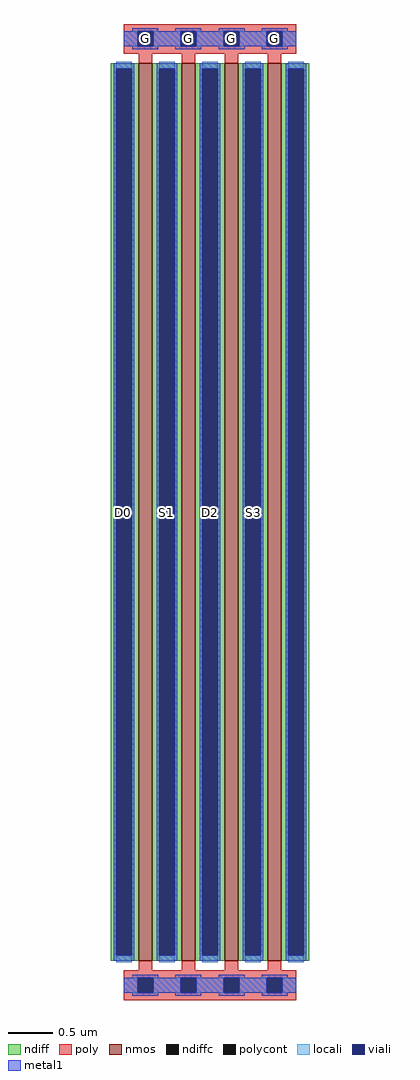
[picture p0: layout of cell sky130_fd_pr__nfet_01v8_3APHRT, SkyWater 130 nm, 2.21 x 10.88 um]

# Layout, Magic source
magic
tech sky130A
magscale 1 2
<< nmos >>
rect -159 -1000 -129 1000
rect -63 -1000 -33 1000
rect 33 -1000 63 1000
rect 129 -1000 159 1000
<< ndiff >>
rect -221 988 -159 1000
rect -221 -988 -209 988
rect -175 -988 -159 988
rect -221 -1000 -159 -988
rect -129 988 -63 1000
rect -129 -988 -113 988
rect -79 -988 -63 988
rect -129 -1000 -63 -988
rect -33 988 33 1000
rect -33 -988 -17 988
rect 17 -988 33 988
rect -33 -1000 33 -988
rect 63 988 129 1000
rect 63 -988 79 988
rect 113 -988 129 988
rect 63 -1000 129 -988
rect 159 988 221 1000
rect 159 -988 175 988
rect 209 -988 221 988
rect 159 -1000 221 -988
<< ndiffc >>
rect -209 -988 -175 988
rect -113 -988 -79 988
rect -17 -988 17 988
rect 79 -988 113 988
rect 175 -988 209 988
<< poly >>
rect -192 1072 192 1088
rect -192 1038 -161 1072
rect -127 1038 -65 1072
rect -31 1038 31 1072
rect 65 1038 127 1072
rect 161 1038 192 1072
rect -192 1022 192 1038
rect -159 1000 -129 1022
rect -63 1000 -33 1022
rect 33 1000 63 1022
rect 129 1000 159 1022
rect -159 -1022 -129 -1000
rect -63 -1022 -33 -1000
rect 33 -1022 63 -1000
rect 129 -1022 159 -1000
rect -192 -1038 192 -1022
rect -192 -1072 -161 -1038
rect -127 -1072 -65 -1038
rect -31 -1072 31 -1038
rect 65 -1072 127 -1038
rect 161 -1072 192 -1038
rect -192 -1088 192 -1072
<< polycont >>
rect -161 1038 -127 1072
rect -65 1038 -31 1072
rect 31 1038 65 1072
rect 127 1038 161 1072
rect -161 -1072 -127 -1038
rect -65 -1072 -31 -1038
rect 31 -1072 65 -1038
rect 127 -1072 161 -1038
<< locali >>
rect -192 1038 -161 1072
rect -127 1038 -65 1072
rect -31 1038 31 1072
rect 65 1038 127 1072
rect 161 1038 192 1072
rect -209 988 -175 1004
rect -209 -1004 -175 -988
rect -113 988 -79 1004
rect -113 -1004 -79 -988
rect -17 988 17 1004
rect -17 -1004 17 -988
rect 79 988 113 1004
rect 79 -1004 113 -988
rect 175 988 209 1004
rect 175 -1004 209 -988
rect -192 -1072 -161 -1038
rect -127 -1072 -65 -1038
rect -31 -1072 31 -1038
rect 65 -1072 127 -1038
rect 161 -1072 192 -1038
<< viali >>
rect -161 1038 -127 1072
rect -65 1038 -31 1072
rect 31 1038 65 1072
rect 127 1038 161 1072
rect -209 -988 -175 988
rect -113 -988 -79 988
rect -17 -988 17 988
rect 79 -988 113 988
rect 175 -988 209 988
rect -161 -1072 -127 -1038
rect -65 -1072 -31 -1038
rect 31 -1072 65 -1038
rect 127 -1072 161 -1038
<< metal1 >>
rect -173 1072 -115 1078
rect -77 1072 -19 1078
rect 19 1072 77 1078
rect 115 1072 173 1078
rect -192 1038 -161 1072
rect -127 1038 -65 1072
rect -31 1038 31 1072
rect 65 1038 127 1072
rect 161 1038 192 1072
rect -173 1032 -115 1038
rect -77 1032 -19 1038
rect 19 1032 77 1038
rect 115 1032 173 1038
rect -215 988 -169 1000
rect -215 -988 -209 988
rect -175 -988 -169 988
rect -215 -1000 -169 -988
rect -119 988 -73 1000
rect -119 -988 -113 988
rect -79 -988 -73 988
rect -119 -1000 -73 -988
rect -23 988 23 1000
rect -23 -988 -17 988
rect 17 -988 23 988
rect -23 -1000 23 -988
rect 73 988 119 1000
rect 73 -988 79 988
rect 113 -988 119 988
rect 73 -1000 119 -988
rect 169 988 215 1000
rect 169 -988 175 988
rect 209 -988 215 988
rect 169 -1000 215 -988
rect -173 -1038 -115 -1032
rect -77 -1038 -19 -1032
rect 19 -1038 77 -1032
rect 115 -1038 173 -1032
rect -192 -1072 -161 -1038
rect -127 -1072 -65 -1038
rect -31 -1072 31 -1038
rect 65 -1072 127 -1038
rect 161 -1072 192 -1038
rect -173 -1078 -115 -1072
rect -77 -1078 -19 -1072
rect 19 -1078 77 -1072
rect 115 -1078 173 -1072
<< labels >>
rlabel ndiffc -192 0 -192 0 0 D0
port 1 nsew
rlabel polycont -144 1055 -144 1055 0 G
port 2 nsew
rlabel ndiffc -96 0 -96 0 0 S1
port 3 nsew
rlabel polycont -48 1055 -48 1055 0 G
port 2 nsew
rlabel ndiffc 0 0 0 0 0 D2
port 4 nsew
rlabel polycont 48 1055 48 1055 0 G
port 2 nsew
rlabel ndiffc 96 0 96 0 0 S3
port 5 nsew
rlabel polycont 144 1055 144 1055 0 G
port 2 nsew
<< properties >>
string gencell sky130_fd_pr__nfet_01v8
string library sky130
string parameters w 10 l 0.150 m 1 nf 4 diffcov 100 polycov 100 guard 0 glc 1 grc 1 gtc 1 gbc 1 tbcov 100 rlcov 100 topc 1 botc 1 poverlap 0 doverlap 1 lmin 0.15 wmin 0.42 class mosfet compatible {sky130_fd_pr__nfet_01v8 sky130_fd_pr__nfet_01v8_lvt  sky130_fd_bs_flash__special_sonosfet_star  sky130_fd_pr__nfet_g5v0d10v5 sky130_fd_pr__nfet_05v0_nvt  sky130_fd_pr__nfet_03v3_nvt} full_metal 0 conn_gates 1 viasrc 100 viadrn 100 viagate 100 viagb 0 viagr 0 viagl 0 viagt 0 doports 1
<< end >>
